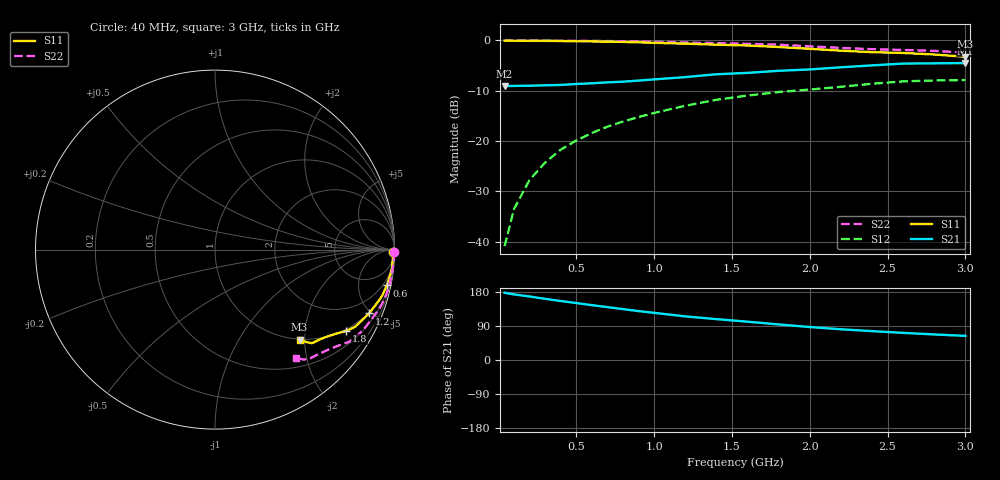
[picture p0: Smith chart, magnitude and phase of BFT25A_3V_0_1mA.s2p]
! Filename:  BFT25AF.S2P  Version:  2.0
! Philips part #: BFT25A  Date: Aug 1990
! Bias condition: Vce=3V, Ic=0.1mA
#  MHz  S  MA  R  50
! Freq  S11  S21  S12  S22  !GUM [dB]
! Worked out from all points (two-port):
!   21 points, 40 MHz to 3 GHz, reference 50 ohm
!   highest |S21| = -4.50 dB at 3 GHz (marker M1); lowest = -9.1 dB at 40 MHz (marker M2)
!   |S21| within 3 dB of the highest: 1.11 GHz to end of sweep
!   lowest |S11| = -3.2 dB at 3 GHz (marker M3), VSWR 5.41, Z = 49.6 - j94.4 ohm
!   |S11| at or under -10 dB: nowhere
!   |S22| runs from -2.4 to 0.0 dB; largest |S21 - S12| = 0.35
!   S11 on the Smith chart (normalised r, x): 40 MHz: open; 600 MHz: 1.04, -9.56; 1.2 GHz: 0.94, -4.85; 1.8 GHz: 0.94, -3.28; 3 GHz: 0.99, -1.89
40  0.994 -0.9  0.352 177.4  0.009 88.7  1 -0.9
100  0.993 -2.0  0.353 173.1  0.021 87.2  0.999 -2.2
200  0.991 -4.0  0.355 167.6  0.041 85.9  0.997 -4.3
300  0.991 -6.0  0.358 161.4  0.061 84.5  0.995 -6.4
400  0.987 -7.9  0.361 155.7  0.082 82.6  0.993 -8.6
500  0.982 -9.7  0.369 150.3  0.101 81.1  0.992 -10.7
600  0.978 -11.8  0.375 144.8  0.12 79.6  0.989 -12.7
700  0.972 -13.5  0.383 139.5  0.139 77.9  0.986 -14.7
800  0.967 -15.2  0.389 134.3  0.156 76.1  0.982 -16.6
900  0.958 -17.0  0.399 129.1  0.173 74.3  0.977 -18.5
1000  0.948 -18.7  0.41 124.5  0.19 72.5  0.97 -20.4
1200  0.929 -22.5  0.432 115.1  0.224 68.6  0.954 -24.2
1400  0.908 -25.9  0.461 107.9  0.257 65.5  0.941 -28.0
1600  0.891 -28.9  0.476 101.1  0.283 62.4  0.926 -31.3
1800  0.861 -31.7  0.499 93.9  0.307 59.4  0.907 -34.5
2000  0.826 -34.4  0.515 87.0  0.325 55.3  0.875 -37.5
2200  0.791 -37.7  0.541 81.1  0.346 51.5  0.843 -41.3
2400  0.765 -41.2  0.565 76.2  0.371 48.5  0.819 -45.4
2600  0.751 -44.0  0.589 71.6  0.392 45.8  0.805 -48.8
2800  0.725 -45.3  0.592 67.4  0.4 43.9  0.788 -51.0
3000  0.688 -46.8  0.596 63.7  0.404 41.5  0.756 -53.2
